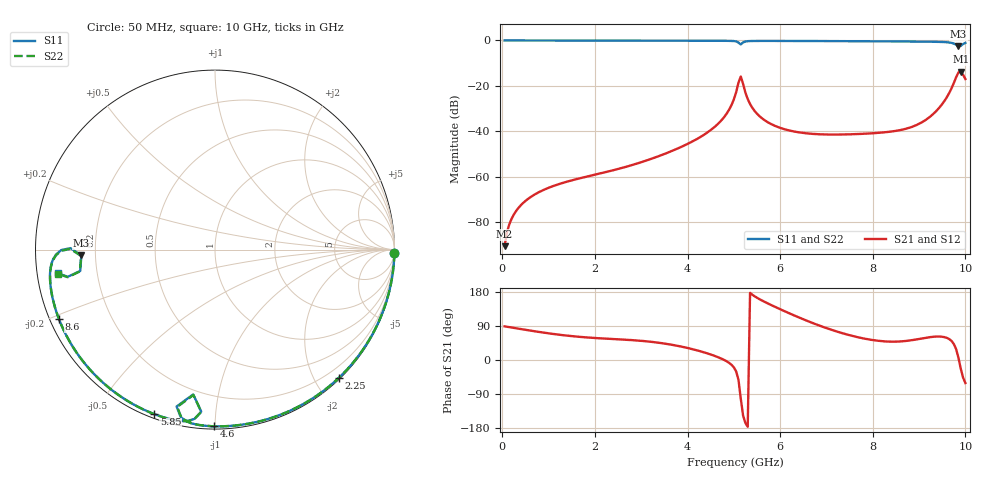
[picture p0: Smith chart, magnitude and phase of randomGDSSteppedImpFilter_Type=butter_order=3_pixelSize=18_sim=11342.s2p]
! freq	dB(S11)	phase(S11)	dB(S12)	phase(S12)
!  dB(S21)	phase(S21)	dB(S22)	phase(S22)
!S-par simulation data
#  GHz  S  DB  R 50
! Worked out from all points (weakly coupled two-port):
!   200 points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, 50 MHz to 10 GHz, reference 50 ohm
!   highest |S21| = -13.66 dB at 9.9 GHz (marker M1); lowest = -90.5 dB at 50 MHz (marker M2)
!   lowest |S11| = -2.6 dB at 9.85 GHz (marker M3), VSWR 6.85, Z = 7.31 - j1.04 ohm
!   |S11| at or under -10 dB: nowhere
!   |S22| runs from -2.5 to 0.0 dB; largest |S21 - S12| = 0
!   S11 on the Smith chart (normalised r, x): 50 MHz: open; 2.25 GHz: 0.02, -2.36; 4.6 GHz: 0.02, -0.99; 5.85 GHz: 0.02, -0.70; 8.6 GHz: 0.03, -0.21; 10 GHz: 0.06, -0.08
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0.05  -0.00 -1.1  -90.50 88.8  -90.50 88.8  -0.00 -1.1
0.15  -0.01 -3.2  -80.96 86.8  -80.96 86.8  -0.01 -3.1
0.4  -0.01 -8.4  -72.50 81.7  -72.50 81.7  -0.01 -8.4
0.7  -0.02 -14.6  -67.75 75.8  -67.75 75.8  -0.02 -14.6
1.75  -0.05 -36.0  -60.26 60.2  -60.26 60.2  -0.05 -36.0
2.25  -0.06 -46.0  -57.84 56.3  -57.84 56.3  -0.06 -45.9
3.4  -0.09 -68.1  -50.73 45.2  -50.73 45.2  -0.09 -68.0
4.6  -0.14 -90.4  -37.78 10.2  -37.78 10.2  -0.14 -90.3
4.9  -0.18 -96.7  -30.38 -7.7  -30.38 -7.7  -0.18 -96.5
5.05  -0.42 -101.5  -22.75 -30.1  -22.75 -30.1  -0.41 -101.3
5.15  -1.77 -98.6  -15.85 -102.2  -15.85 -102.2  -1.73 -98.4
5.3  -0.31 -98.8  -25.79 -176.3  -25.79 -176.3  -0.31 -98.7
5.4  -0.23 -101.5  -29.65 172.2  -29.65 172.2  -0.23 -101.4
5.85  -0.20 -110.2  -37.23 142.5  -37.23 142.5  -0.20 -110.1
6.7  -0.25 -124.6  -41.09 97.6  -41.09 97.6  -0.25 -124.4
8.35  -0.40 -151.7  -40.20 48.5  -40.20 48.5  -0.40 -151.5
8.6  -0.43 -155.9  -39.40 49.0  -39.40 49.0  -0.43 -155.7
9.35  -0.59 -169.5  -31.47 61.7  -31.47 61.7  -0.59 -169.3
9.6  -0.79 -175.3  -24.94 58.3  -24.94 58.3  -0.79 -175.0
9.85  -2.56 -177.6  -14.06 5.9  -14.06 5.9  -2.53 -177.3
9.9  -2.38 -171.0  -13.66 -22.9  -13.66 -22.9  -2.36 -170.8
10  -1.08 -171.3  -16.98 -61.0  -16.98 -61.0  -1.08 -171.2
